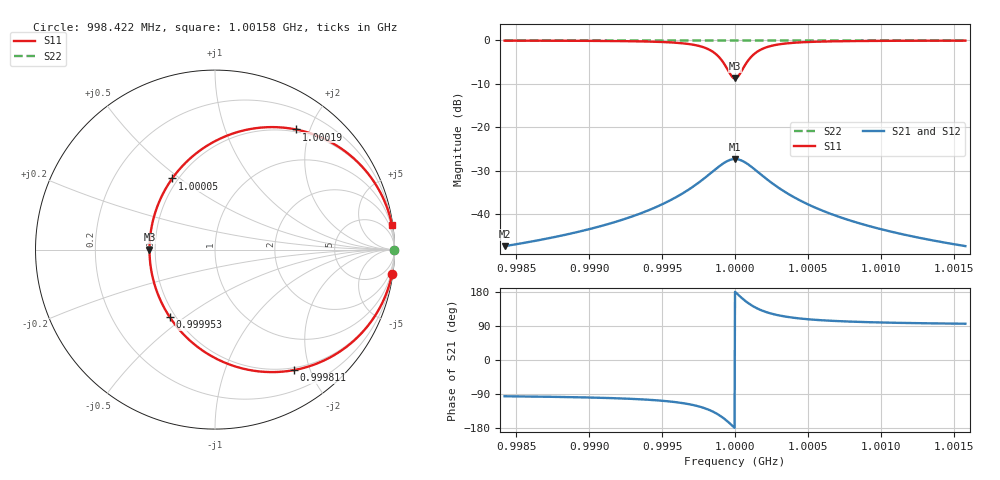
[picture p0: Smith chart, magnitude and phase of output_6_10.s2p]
! File generated for n1 = 6, n2 = 10
! b1 = 2.154435
! b2 = 0.002154
! Q0 = 10000.000000
! f0 = 1000000000.000000
! n = 1001
! rel_span = 10.000000
# Hz S RI R 50
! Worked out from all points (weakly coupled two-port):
!   1001 points, 998.422 MHz to 1.00158 GHz, reference 50 ohm
!   highest |S21| = -27.30 dB at 1 GHz (marker M1); lowest = -47.3 dB at 998.422 MHz (marker M2)
!   lowest |S11| = -8.8 dB at 1 GHz (marker M3), VSWR 2.15, Z = 23.3 + j0 ohm
!   |S11| at or under -10 dB: nowhere
!   |S22| runs from 0.0 to 0.0 dB; largest |S21 - S12| = 0
!   S11 on the Smith chart (normalised r, x): 998.422 MHz: 0, -15; 999.811 MHz: 0.47, -1.76; 999.953 MHz: 0.47, -0.44; 1.00005 GHz: 0.47, +0.47; 1.00019 GHz: 0.47, +1.79; 1.00158 GHz: 0, +15
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9.984217e8  0.9865 -0.135  -0.000427 -0.00427  -0.000427 -0.00427  1 -0.000135
9.989489e8  0.9699 -0.2003  -0.000951 -0.00634  -0.000951 -0.00634  1 -0.0002
9.992487e8  0.9423 -0.2746  -0.00182 -0.00868  -0.00182 -0.00868  0.9999 -0.000275
9.99476e8  0.8865 -0.3769  -0.00359 -0.0119  -0.00359 -0.0119  0.9999 -0.000377
9.99678e8  0.7356 -0.5394  -0.00836 -0.0171  -0.00836 -0.0171  0.9997 -0.000539
9.997506e8  0.6097 -0.6168  -0.0123 -0.0195  -0.0123 -0.0195  0.9996 -0.000617
9.998106e8  0.4406 -0.6713  -0.0177 -0.0212  -0.0177 -0.0212  0.9994 -0.000671
9.998895e8  0.0839 -0.6413  -0.029 -0.0203  -0.029 -0.0203  0.9991 -0.000641
9.999211e8  -0.092 -0.546  -0.0345 -0.0173  -0.0345 -0.0173  0.9989 -0.000546
9.999527e8  -0.2523 -0.3757  -0.0396 -0.0119  -0.0396 -0.0119  0.9987 -0.000376
1e9  -0.365 0  -0.0432 0  -0.0432 0  0.9986 0
1.000025e9  -0.331 0.213  -0.0421 0.00673  -0.0421 0.00673  0.9987 0.000213
1.000051e9  -0.2382 0.3962  -0.0392 0.0125  -0.0392 0.0125  0.9988 0.000396
1.000079e9  -0.092 0.546  -0.0345 0.0173  -0.0345 0.0173  0.9989 0.000546
1.00011e9  0.0838 0.6413  -0.029 0.0203  -0.029 0.0203  0.9991 0.000641
1.000145e9  0.2607 0.6801  -0.0234 0.0215  -0.0234 0.0215  0.9993 0.00068
1.000193e9  0.4514 0.6693  -0.0173 0.0212  -0.0173 0.0212  0.9995 0.000669
1.000253e9  0.6165 0.6135  -0.0121 0.0194  -0.0121 0.0194  0.9996 0.000614
1.000325e9  0.7396 0.5363  -0.00823 0.017  -0.00823 0.017  0.9997 0.000536
1.000527e9  0.8876 0.3752  -0.00355 0.0119  -0.00355 0.0119  0.9999 0.000375
1.001054e9  0.97 0.2  -0.000947 0.00632  -0.000947 0.00632  1 0.0002
1.001578e9  0.9865 0.1353  -0.000428 0.00428  -0.000428 0.00428  1 0.000135
